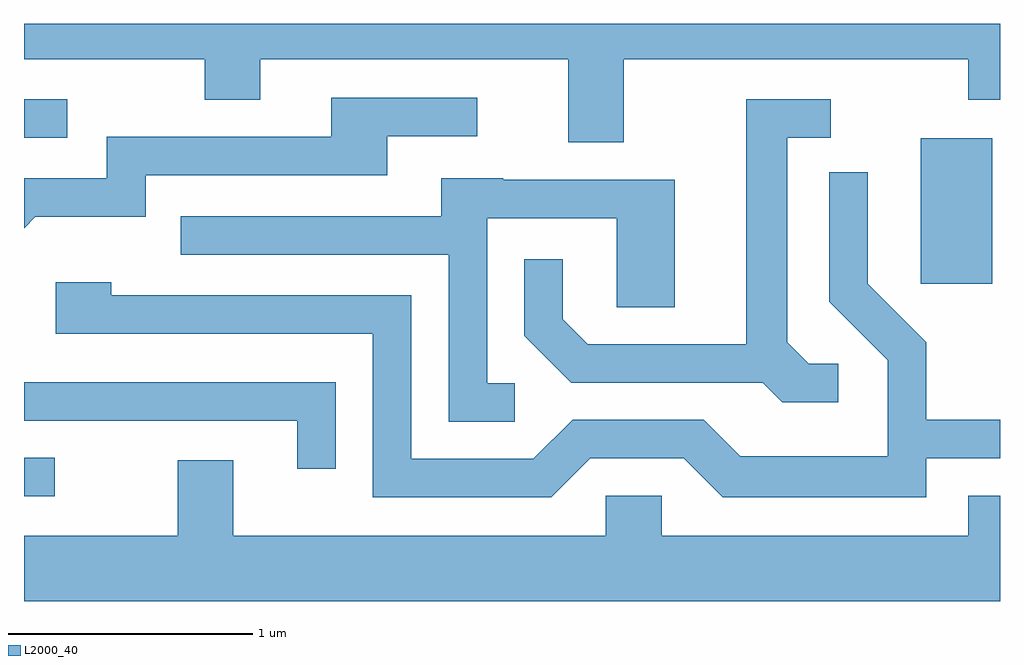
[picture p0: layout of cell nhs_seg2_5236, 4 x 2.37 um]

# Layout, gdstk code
import gdstk
lib = gdstk.Library(unit=1e-6, precision=1e-09)
def R(c, l, rs):  # rectangles x0, y0, x1, y1
    for r in rs: c.add(gdstk.rectangle(r[:2], r[2:], *l))
def P(c, l, *ps):  # polygons
    for p in ps: c.add(gdstk.Polygon(p, *l))
L2000_40 = (2000, 40)

nhs_seg2_5236 = lib.new_cell('nhs_seg2_5236')
R(nhs_seg2_5236, L2000_40, [(339.611,1039.866,339.738,1040.024), (343.286,1040.736,343.579,1041.334), (339.611,1041.336,339.788,1041.494)])
P(nhs_seg2_5236, L2000_40, [(342.069,1041.656),(343.481,1041.656),(343.481,1041.491),(343.611,1041.491),(343.611,1041.802),(339.611,1041.802),(339.611,1041.656),(340.351,1041.656),(340.351,1041.491),(340.579,1041.491),(340.579,1041.656),(341.841,1041.656),(341.841,1041.316),(342.069,1041.316)],
  [(339.657,1041.011),(340.109,1041.011),(340.109,1041.181),(341.099,1041.181),(341.099,1041.341),(341.468,1041.341),(341.468,1041.499),(340.871,1041.499),(340.871,1041.339),(339.951,1041.339),(339.951,1041.169),(339.611,1041.169),(339.611,1040.965)],
  [(342.948,1040.409),(342.827,1040.409),(342.739,1040.497),(342.739,1041.336),(342.918,1041.336),(342.918,1041.494),(342.571,1041.494),(342.571,1040.489),(341.922,1040.489),(341.819,1040.592),(341.819,1040.838),(341.661,1040.838),(341.661,1040.524),(341.854,1040.331),(342.639,1040.331),(342.719,1040.251),(342.948,1040.251)],
  [(341.932,1040.021),(342.314,1040.021),(342.474,1039.861),(343.309,1039.861),(343.309,1040.021),(343.611,1040.021),(343.611,1040.179),(343.309,1040.179),(343.309,1040.497),(343.069,1040.737),(343.069,1041.193),(342.911,1041.193),(342.911,1040.664),(343.151,1040.424),(343.151,1040.029),(342.547,1040.029),(342.397,1040.179),(341.859,1040.179),(341.699,1040.019),(341.199,1040.019),(341.199,1040.689),(339.969,1040.689),(339.969,1040.744),(339.741,1040.744),(339.741,1040.531),(341.041,1040.531),(341.041,1039.861),(341.772,1039.861)],
  [(341.623,1040.329),(341.509,1040.329),(341.509,1041.006),(342.041,1041.006),(342.041,1040.641),(342.279,1040.641),(342.279,1041.164),(341.575,1041.164),(341.575,1041.169),(341.321,1041.169),(341.321,1041.014),(340.253,1041.014),(340.253,1040.856),(341.351,1040.856),(341.351,1040.171),(341.623,1040.171)],
  [(340.889,1040.334),(339.611,1040.334),(339.611,1040.176),(340.731,1040.176),(340.731,1039.978),(340.889,1039.978)],
  [(343.611,1039.869),(343.481,1039.869),(343.481,1039.704),(342.224,1039.704),(342.224,1039.869),(341.996,1039.869),(341.996,1039.704),(340.469,1039.704),(340.469,1040.014),(340.241,1040.014),(340.241,1039.704),(339.611,1039.704),(339.611,1039.436),(343.611,1039.436)])

lib.write_gds('nhs_seg2_5236.gds')
